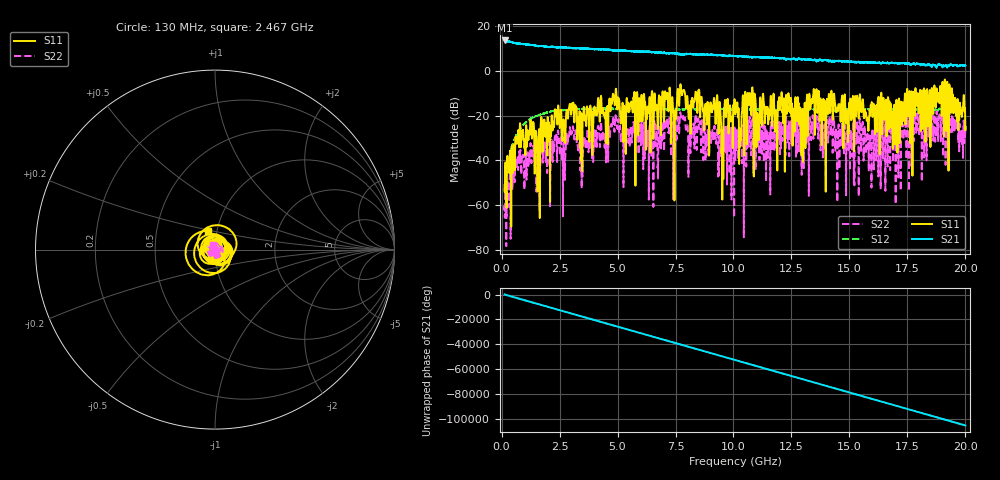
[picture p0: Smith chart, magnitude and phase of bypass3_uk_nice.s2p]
!Created with skrf (http://scikit-rf.org).
# GHz S RI R 50.0
!freq ReS11 ImS11 ReS21 ImS21 ReS12 ImS12 ReS22 ImS22
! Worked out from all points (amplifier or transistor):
!   20013 points, 130 MHz to 20 GHz, reference 50 ohm
!   highest |S21| = 13.4 dB at 130 MHz (marker M1)
!   |S21| within 3 dB of that: start of sweep to 2.024 GHz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
!   unconditionally stable (mu >= 1): start of sweep to end of sweep
!   at 3.465 GHz: K = 1.35, MAG = 10.0 dB, |S12| = -17.1 dB
!   at 10.14 GHz: K = 1.85, MAG = 6.6 dB, |S12| = -17.3 dB
!   at 20 GHz: K = 2.71, MAG = 2.3 dB, |S12| = -16.7 dB
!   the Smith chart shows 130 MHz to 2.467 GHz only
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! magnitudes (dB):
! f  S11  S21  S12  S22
! 130 MHz  -50.9  13.4  -53.7  -60.5
! 949 MHz  -31.0  11.8  -24.0  -38.2
! 1.577 GHz  -29.7  10.9  -19.9  -40.5
! 2.379 GHz  -21.2  10.4  -17.8  -33.4
! 2.68 GHz  -23.3  10.4  -17.6  -30.6
! 3.012 GHz  -18.3  10.1  -17.4  -27.1
! 3.442 GHz  -31.4  9.9  -17.1  -39.9
! 4.878 GHz  -15.4  9.1  -16.9  -25.7
! 6.754 GHz  -21.6  8.1  -16.9  -36.3
! 7.471 GHz  -22.7  7.7  -17.1  -30.6
! 7.779 GHz  -10.9  7.2  -17.3  -21.6
! 8.13 GHz  -16.4  7.5  -17.0  -31.2
! 9.225 GHz  -23.3  7.0  -17.1  -30.0
! 9.516 GHz  -57.5  6.8  -17.1  -33.6
! 9.675 GHz  -20.2  6.6  -17.2  -31.0
! 10.06 GHz  -17.6  6.5  -17.3  -27.7
! 12.35 GHz  -14.3  5.3  -17.6  -27.0
! 12.94 GHz  -30.9  5.1  -17.5  -33.7
! 13.38 GHz  -12.7  4.8  -17.2  -23.4
! 16.69 GHz  -15.9  3.3  -17.3  -23.1
! 19.06 GHz  -9.9  2.4  -17.0  -24.3
! 20 GHz  -25.1  2.3  -16.7  -25.0
